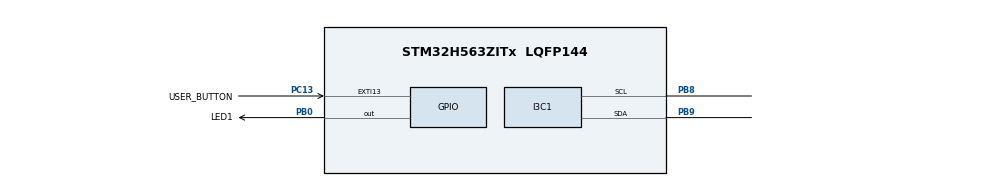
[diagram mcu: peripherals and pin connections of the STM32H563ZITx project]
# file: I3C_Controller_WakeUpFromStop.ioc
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CORTEX_M33_NS.userName=CORTEX_M33
I3C1.BusFreeDuration=402
I3C1.DutyCycleI3C=50
I3C1.FrequencyI3C=12500
I3C1.RXFIFOThreshold=HAL_I3C_RXFIFO_THRESHOLD_1_4
I3C1.Register0=0x00590909
I3C1.Register1=0x103200f8
I3C1.SCLI3CHighDuration=0x09
I3C1.SCLODLowDuration=0x59
I3C1.SCLPPLowDuration=0x09
I3C1.SDAHoldTime=HAL_I3C_SDA_HOLD_TIME_1_5
I3C1.TXFIFOThreshold=HAL_I3C_TXFIFO_THRESHOLD_1_4
I3C1.hexBusFreeDuration=0x32
I3C1.hexBusIdleDuration=0xf8
Mcu.Family=STM32H5
Mcu.Name=STM32H563ZITx
Mcu.Package=LQFP144
NVIC.EXTI13_IRQn=true\:0\:0\:false\:false\:true\:true\:true\:true
NVIC.I3C1_ER_IRQn=true\:0\:0\:false\:false\:true\:true\:true\:true
NVIC.I3C1_EV_IRQn=true\:0\:0\:false\:false\:true\:true\:true\:true
NVIC.PriorityGroup=NVIC_PRIORITYGROUP_4
PB0.GPIO_Label=LED1
PB0.Signal=GPIO_Output
PB8.Mode=Controller
PB8.Signal=I3C1_SCL
PB9.Mode=Controller
PB9.Signal=I3C1_SDA
PC13.GPIO_Label=USER_BUTTON
PC13.GPIO_PuPd=GPIO_PULLDOWN
PC13.Signal=GPXTI13
PH0-OSC_IN(PH0).Mode=HSE-DIG-External-Clock-Source
PH0-OSC_IN(PH0).Signal=RCC_OSC_IN
ProjectManager.HeapSize=0x200
ProjectManager.StackSize=0x400
ProjectManager.TargetToolchain=EWARM V9.20
RCC.ADCFreq_Value=250000000
RCC.AHBFreq_Value=250000000
RCC.APB1Freq_Value=250000000
RCC.APB1TimFreq_Value=250000000
RCC.APB2Freq_Value=250000000
RCC.APB2TimFreq_Value=250000000
RCC.APB3Freq_Value=250000000
RCC.CSI_VALUE=4000000
RCC.CortexFreq_Value=250000000
RCC.EPOD_VALUE=8000000
RCC.HCLKFreq_Value=250000000
RCC.HSE_VALUE=8000000
RCC.HSI48_VALUE=48000000
RCC.HSIDiv=RCC_HSI_DIV1
RCC.HSI_VALUE=64000000
RCC.LSE_VALUE=32768
RCC.LSIRC_VALUE=32000
RCC.PLLFRACN=0
RCC.PLLM=4
RCC.PLLN=250
RCC.PLLSourceVirtual=RCC_PLL1_SOURCE_HSE
RCC.PWR_Regulator_Voltage_Scale=PWR_REGULATOR_VOLTAGE_SCALE0
RCC.SYSCLKFreq_VALUE=250000000
RCC.SYSCLKSource=RCC_SYSCLKSOURCE_PLLCLK
RCC.USBFreq_Value=48000000
RCC.VCOOutputFreq_Value=500000000
VP_ICACHE_VS_ICACHE.Mode=DefaultMode
VP_PWR_VS_SECSignals.Mode=Security/Privilege
board=custom

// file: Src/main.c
/* USER CODE BEGIN Header */
/**
  ******************************************************************************
  * @file    I3C/I3C_Controller_WakeUpFromStop/Src/main.c
  * @author  MCD Application Team
  * @brief   This sample code shows how to use STM32H5xx I3C LL API as Controller
  *          to transmit and receive a data buffer
  *          with a communication process based on Interrupt transfer.
  *          The communication is done using 2 Boards.
  ******************************************************************************
  * @attention
  *
  * Copyright (c) 2023 STMicroelectronics.
  * All rights reserved.
  *
  * This software is licensed under terms that can be found in the LICENSE file
  * in the root directory of this software component.
  * If no LICENSE file comes with this software, it is provided AS-IS.
  *
  ******************************************************************************
  */
/* USER CODE END Header */
#include "main.h"

/* USER CODE BEGIN Includes */
#include "desc_target1.h"
/* USER CODE END Includes */

/* USER CODE BEGIN PD */
#define I3C_IDX_FRAME_1         0U  /* Index of Frame 1 */
#define I3C_IDX_FRAME_2         1U  /* Index of Frame 2 */
/* USER CODE END PD */

/* USER CODE BEGIN PV */
__IO uint8_t ubButtonPress = 0;

/* Number of Targets detected during DAA procedure */
__IO uint32_t uwTargetCount = 0;

/* Buffer used for transmission */
uint8_t aTxBuffer[] = " ****I3C_TwoBoards communication based on IT****  ****I3C_TwoBoards communication based on IT****  ****I3C_TwoBoards communication based on IT**** ";

/* Buffer used for reception */
uint8_t aRxBuffer[RXBUFFERSIZE];

/* Array contain targets descriptor */
TargetDesc_TypeDef *aTargetDesc[1] = \
                          {
                            &TargetDesc1       /* DEVICE_ID1 */
                          };

uint8_t aPayloadBuffer[64*COUNTOF(aTargetDesc)];

/* Descriptor for private data transmit */
I3C_PrivateTypeDef aPrivateDescriptor[2] =
{
    {TARGET1_DYN_ADDR, {aTxBuffer, TXBUFFERSIZE}, {NULL,                 0}, LL_I3C_DIRECTION_WRITE},
    {TARGET1_DYN_ADDR, {NULL,                 0}, {aRxBuffer, RXBUFFERSIZE}, LL_I3C_DIRECTION_READ}
};

/* private transfer variables */
uint8_t ubPrivateIdx = 0;
uint8_t ubFrameIdx = 0;
uint32_t uwPrivateMessage[0xFF] = {0};
__IO uint8_t ubNbPrivate = 0;

/* Buffer used for reception */
__IO uint8_t ubNbRxData = 0;

/* Buffer used for transmission */
__IO uint8_t ubNbTxDataToTransfer = 0;
__IO uint8_t ubNbTxData = 0;

/* Function pointer on function TX buffer treatment */
void (*ptrTXFunc)(void);

/* Completion status */
__IO uint8_t ubNackDetected = 0;
__IO uint8_t ubFrameComplete = 0;
__IO uint8_t ubReceptionComplete = 0;
/* USER CODE END PV */

void SystemClock_Config(void);
static void MX_GPIO_Init(void);
static void MX_I3C1_Init(void);
static void MX_ICACHE_Init(void);
/* USER CODE BEGIN PFP */
void FlushBuffer8(uint8_t* pBuffer1, uint16_t BufferSize);
void LED_On(void);
void LED_Off(void);
void LED_Toggle(void);
void LED_Blinking(uint32_t Period);
void WaitForUserButtonPress(void);
void Handle_ENTDAA_Controller(void);
void Prepare_Private_Transfer(void);
void Handle_Private_Controller(void);
void Handle_Repeat_Private_Controller(void);
static void I3C_DynamicAddressTreatment(void);
static void I3C_TransmitByteTreatment(void);
static uint16_t Buffercmp(uint8_t *pBuffer1, uint8_t *pBuffer2, uint16_t BufferLength);
/* USER CODE END PFP */

int main(void)
{

  /* MCU Configuration--------------------------------------------------------*/

  /* Reset of all peripherals, Initializes the Flash interface and the Systick. */

  /* System interrupt init*/
  NVIC_SetPriorityGrouping(NVIC_PRIORITYGROUP_4);

  /* SysTick_IRQn interrupt configuration */
  NVIC_SetPriority(SysTick_IRQn, NVIC_EncodePriority(NVIC_GetPriorityGrouping(),15, 0));

  /* Configure the system clock */
  SystemClock_Config();

  /* Initialize all configured peripherals */
  MX_GPIO_Init();
  MX_I3C1_Init();
  MX_ICACHE_Init();
  /* USER CODE BEGIN 2 */
  /* Set LED1 Off */
  LED_Off();

  /*##- Start Dynamic Address Assignment procedure ##################################*/

  /* Wait for USER push-button press to start transfer */
  WaitForUserButtonPress();

  /* Handle Dynamic Address Assignment */
  Handle_ENTDAA_Controller();

  /* Wait end of Dynamic Address Assignment procedure */
  while(ubFrameComplete == 0U);

  /* Reset Complete variable */
  ubFrameComplete = 0;

  /*##- Prepare Private message  ####################################################*/
  /* An auto stop is automatically generated between
  each element of aPrivateDescriptor */

  /* Wait for USER push-button press to start transfer */
  WaitForUserButtonPress();

  /* Prepare Private transfer */
  Prepare_Private_Transfer();

  /*##- Start the Private communication to wakeup target ############################*/
  /* An auto stop is automatically generated after
  first element of aPrivateDescriptor or after a non acknowledge
  of first part of communication, due to wakeup latency on Target side */
  /* Handle Private transfer */
  Handle_Private_Controller();

  /* Wait end of Private transfer procedure */
  /* And manage repetition if a Non acknowledge is detected */
  do
  {
    if (ubNackDetected)
    {
      /* Clear Nack detection variable */
      ubNackDetected = 0;

      /* Handle the repetition of the previous Private transfer */
      Handle_Repeat_Private_Controller();
    }
  }
  while (ubFrameComplete == 0);

  ubFrameComplete = 0;

  /* Wait for USER push-button press to start transfer */
  WaitForUserButtonPress();

  /*##- Start the Private communication #############################################*/
  /* An auto stop is automatically generated after
  second element of aPrivateDescriptor */
  /* Handle Private transfer */
  Handle_Private_Controller();

  /* Wait end of Private transfer procedure */
  while (ubFrameComplete == 0);

  ubFrameComplete = 0;

  /*##- Compare the sent and received buffers ############################*/
  if (Buffercmp((uint8_t *)aTxBuffer, (uint8_t *)aRxBuffer, RXBUFFERSIZE))
  {
    /* Processing Error */
    Error_Handler();
  }
  else
  {
    /* LED1 On */
    LED_On();
  }

  /* USER CODE END 2 */

  /* Infinite loop */
  while (1)
  {

  }
}

void SystemClock_Config(void)
{
  LL_FLASH_SetLatency(LL_FLASH_LATENCY_5);
  while(LL_FLASH_GetLatency()!= LL_FLASH_LATENCY_5)
  {
  }

  LL_PWR_SetRegulVoltageScaling(LL_PWR_REGU_VOLTAGE_SCALE0);
  while (LL_PWR_IsActiveFlag_VOS() == 0)
  {
  }
  LL_RCC_HSE_EnableBypass();
  LL_RCC_HSE_SetExternalClockType(LL_RCC_HSE_DIGITAL_TYPE);
  LL_RCC_HSE_Enable();

   /* Wait till HSE is ready */
  while(LL_RCC_HSE_IsReady() != 1)
  {
  }

  LL_RCC_PLL1_SetSource(LL_RCC_PLL1SOURCE_HSE);
  LL_RCC_PLL1_SetVCOInputRange(LL_RCC_PLLINPUTRANGE_2_4);
  LL_RCC_PLL1_SetVCOOutputRange(LL_RCC_PLLVCORANGE_WIDE);
  LL_RCC_PLL1_SetM(4);
  LL_RCC_PLL1_SetN(250);
  LL_RCC_PLL1_SetP(2);
  LL_RCC_PLL1_SetQ(2);
  LL_RCC_PLL1_SetR(2);
  LL_RCC_PLL1P_Enable();
  LL_RCC_PLL1_Enable();

   /* Wait till PLL is ready */
  while(LL_RCC_PLL1_IsReady() != 1)
  {
  }

  LL_RCC_SetSysClkSource(LL_RCC_SYS_CLKSOURCE_PLL1);

   /* Wait till System clock is ready */
  while(LL_RCC_GetSysClkSource() != LL_RCC_SYS_CLKSOURCE_STATUS_PLL1)
  {
  }

  LL_RCC_SetAHBPrescaler(LL_RCC_SYSCLK_DIV_1);
  LL_RCC_SetAPB1Prescaler(LL_RCC_APB1_DIV_1);
  LL_RCC_SetAPB2Prescaler(LL_RCC_APB2_DIV_1);
  LL_RCC_SetAPB3Prescaler(LL_RCC_APB3_DIV_1);

  LL_Init1msTick(250000000);

  LL_SetSystemCoreClock(250000000);
}

static void MX_I3C1_Init(void)
{

  LL_GPIO_InitTypeDef GPIO_InitStruct = {0};

  LL_RCC_SetI3CClockSource(LL_RCC_I3C1_CLKSOURCE_PCLK1);

  /* Peripheral clock enable */
  LL_APB1_GRP1_EnableClock(LL_APB1_GRP1_PERIPH_I3C1);

  LL_AHB2_GRP1_EnableClock(LL_AHB2_GRP1_PERIPH_GPIOB);
  /**I3C1 GPIO Configuration
  PB8   ------> I3C1_SCL
  PB9   ------> I3C1_SDA
  */
  GPIO_InitStruct.Pin = LL_GPIO_PIN_8|LL_GPIO_PIN_9;
  GPIO_InitStruct.Mode = LL_GPIO_MODE_ALTERNATE;
  GPIO_InitStruct.Speed = LL_GPIO_SPEED_FREQ_VERY_HIGH;
  GPIO_InitStruct.Pull = LL_GPIO_PULL_UP;
  GPIO_InitStruct.Alternate = LL_GPIO_AF_3;
  LL_GPIO_Init(GPIOB, &GPIO_InitStruct);

  /* I3C1 interrupt Init */
  NVIC_SetPriority(I3C1_EV_IRQn, NVIC_EncodePriority(NVIC_GetPriorityGrouping(),0, 0));
  NVIC_EnableIRQ(I3C1_EV_IRQn);
  NVIC_SetPriority(I3C1_ER_IRQn, NVIC_EncodePriority(NVIC_GetPriorityGrouping(),0, 0));
  NVIC_EnableIRQ(I3C1_ER_IRQn);

  /** I3C Initialization
  */
  LL_I3C_SetMode(I3C1, LL_I3C_MODE_CONTROLLER);
  LL_I3C_SetDataHoldTime(I3C1, LL_I3C_SDA_HOLD_TIME_1_5);
  LL_I3C_SetControllerActivityState(I3C1, LL_I3C_OWN_ACTIVITY_STATE_0);
  LL_I3C_ConfigClockWaveForm(I3C1, 0x00590909);
  LL_I3C_SetCtrlBusCharacteristic(I3C1, 0x103200f8);
  LL_I3C_DisableHJAck(I3C1);

  /** Configure FIFO
  */
  LL_I3C_SetRxFIFOThreshold(I3C1, LL_I3C_RXFIFO_THRESHOLD_1_4);
  LL_I3C_SetTxFIFOThreshold(I3C1, LL_I3C_TXFIFO_THRESHOLD_1_4);
  LL_I3C_DisableControlFIFO(I3C1);
  LL_I3C_DisableStatusFIFO(I3C1);

  /** Configure Controller
  */
  LL_I3C_SetOwnDynamicAddress(I3C1, 0);
  LL_I3C_EnableOwnDynAddress(I3C1);
  LL_I3C_SetStallTime(I3C1, 0x00);
  LL_I3C_DisableStallACK(I3C1);
  LL_I3C_DisableStallParityCCC(I3C1);
  LL_I3C_DisableStallParityData(I3C1);
  LL_I3C_DisableStallTbit(I3C1);
  LL_I3C_DisableHighKeeperSDA(I3C1);

  /** Enable the selected I3C peripheral
  */
  LL_I3C_Enable(I3C1);
  /* USER CODE BEGIN I3C1_Init 2 */

  /* Add a delay to let startup of High level on the Bus */
  LL_mDelay(1);

  GPIO_InitStruct.Pin = LL_GPIO_PIN_8|LL_GPIO_PIN_9;
  GPIO_InitStruct.Mode = LL_GPIO_MODE_ALTERNATE;
  GPIO_InitStruct.Speed = LL_GPIO_SPEED_FREQ_VERY_HIGH;
  GPIO_InitStruct.Pull = LL_GPIO_PULL_NO;
  GPIO_InitStruct.Alternate = LL_GPIO_AF_3;
  LL_GPIO_Init(GPIOB, &GPIO_InitStruct);

  LL_I3C_EnableIT_FC(I3C1);
  LL_I3C_EnableIT_CFNF(I3C1);
  LL_I3C_EnableIT_RXFNE(I3C1);
  LL_I3C_EnableIT_TXFNF(I3C1);
  LL_I3C_EnableIT_ERR(I3C1);
  /* USER CODE END I3C1_Init 2 */

}

static void MX_ICACHE_Init(void)
{

  /** Enable instruction cache (default 2-ways set associative cache)
  */
  LL_ICACHE_Enable();

}

static void MX_GPIO_Init(void)
{
  LL_EXTI_InitTypeDef EXTI_InitStruct = {0};
  LL_GPIO_InitTypeDef GPIO_InitStruct = {0};

  /* GPIO Ports Clock Enable */
  LL_AHB2_GRP1_EnableClock(LL_AHB2_GRP1_PERIPH_GPIOC);
  LL_AHB2_GRP1_EnableClock(LL_AHB2_GRP1_PERIPH_GPIOH);
  LL_AHB2_GRP1_EnableClock(LL_AHB2_GRP1_PERIPH_GPIOB);

  /**/
  LL_GPIO_ResetOutputPin(LED1_GPIO_Port, LED1_Pin);

  /**/
  LL_EXTI_SetEXTISource(LL_EXTI_EXTI_PORTC, LL_EXTI_EXTI_LINE13);

  /**/
  EXTI_InitStruct.Line_0_31 = LL_EXTI_LINE_13;
  EXTI_InitStruct.Line_32_63 = LL_EXTI_LINE_NONE;
  EXTI_InitStruct.LineCommand = ENABLE;
  EXTI_InitStruct.Mode = LL_EXTI_MODE_IT;
  EXTI_InitStruct.Trigger = LL_EXTI_TRIGGER_RISING;
  LL_EXTI_Init(&EXTI_InitStruct);

  /**/
  LL_GPIO_SetPinPull(USER_BUTTON_GPIO_Port, USER_BUTTON_Pin, LL_GPIO_PULL_DOWN);

  /**/
  LL_GPIO_SetPinMode(USER_BUTTON_GPIO_Port, USER_BUTTON_Pin, LL_GPIO_MODE_INPUT);

  /**/
  GPIO_InitStruct.Pin = LED1_Pin;
  GPIO_InitStruct.Mode = LL_GPIO_MODE_OUTPUT;
  GPIO_InitStruct.Speed = LL_GPIO_SPEED_FREQ_LOW;
  GPIO_InitStruct.OutputType = LL_GPIO_OUTPUT_PUSHPULL;
  GPIO_InitStruct.Pull = LL_GPIO_PULL_NO;
  LL_GPIO_Init(LED1_GPIO_Port, &GPIO_InitStruct);

  /* EXTI interrupt init*/
  NVIC_SetPriority(EXTI13_IRQn, NVIC_EncodePriority(NVIC_GetPriorityGrouping(),0, 0));
  NVIC_EnableIRQ(EXTI13_IRQn);

}

/* USER CODE BEGIN 4 */
/**
  * @brief  Flush 8-bit buffer.
  * @param  pBuffer1: pointer to the buffer to be flushed.
  * @param  BufferSize: Size of Buffer.
  * @retval None
  */
void FlushBuffer8(uint8_t* pBuffer1, uint16_t BufferSize)
{
  uint8_t Index = 0;

  for (Index = 0; Index < BufferSize; Index++)
  {
    pBuffer1[Index] = 0;
  }
}

/**
  * @brief  Turn-on LED1.
  * @param  None
  * @retval None
  */
void LED_On(void)
{
  /* Turn LED1 on */
  LL_GPIO_SetOutputPin(LED1_GPIO_Port, LED1_Pin);
}

/**
  * @brief  Turn-off LED1.
  * @param  None
  * @retval None
  */
void LED_Off(void)
{
  /* Turn LED1 off */
  LL_GPIO_ResetOutputPin(LED1_GPIO_Port, LED1_Pin);
}

/**
  * @brief  Toggle LED1.
  * @param  None
  * @retval None
  */
void LED_Toggle(void)
{
  /* Toggle LED1 on */
  LL_GPIO_TogglePin(LED1_GPIO_Port, LED1_Pin);
}

/**
  * @brief  Set LED1 to Blinking mode for an infinite loop (toggle period based on value provided as input parameter).
  * @param  Period : Period of time (in ms) between each toggling of LED
  *   This parameter can be user defined values. Pre-defined values used in that example are :
  *     @arg LED_BLINK_FAST : Fast Blinking
  *     @arg LED_BLINK_SLOW : Slow Blinking
  *     @arg LED_BLINK_ERROR : Error specific Blinking
  * @retval None
  */
void LED_Blinking(uint32_t Period)
{
  /* Turn LED1 on */
  LED_On();

  /* Toggle IO in an infinite loop */
  while (1)
  {
    LED_Toggle();
    LL_mDelay(Period);
  }
}

/**
  * @brief  This Function handle Controller events to perform an Assign dynamic address process
  * @note  This function is composed in one step :
  *        -1- Initiate the Dynamic address assignment procedure.
  * @param  None
  * @retval None
  */
void Handle_ENTDAA_Controller(void)
{
  /* Set Treatment function pointer */
  ptrTXFunc = &I3C_DynamicAddressTreatment;

  /* (1) Initiate a Dynamic Address Assignment to the Target connected on the bus ****/
  /* Controller Generate Start condition for a write request with a Broadcast ENTDAA:
  *  - to the Targets connected on the bus
  *  - with an auto stop condition generation when all Targets answer the ENTDAA sequence.
  */
  LL_I3C_ControllerHandleCCC(I3C1, Broadcast_ENTDAA, 0, LL_I3C_GENERATE_STOP);
}

/**
  * @brief  This Function handle a private transfer to a target
  * @note  This function is composed in one step :
  *        -1- Compute the different parameter of aPrivateDescriptor array into private message.
  *            The private message take the structure of hardware Control Register
  *            to safe process time during the sending of Control data into the hardware.
  *            A repeated start is inserted between each private command.
  *            A stop is inserted at the end of the private array.
  * @param  None
  * @retval None
  */
void Prepare_Private_Transfer(void)
{
  uint32_t ControlMask = (I3C_CR_ADD | I3C_CR_DCNT | I3C_CR_RNW | I3C_CR_MTYPE | I3C_CR_MEND);
  uint32_t XferSize = 0U;

  for(ubPrivateIdx = 0; ubPrivateIdx < COUNTOF(aPrivateDescriptor); ubPrivateIdx++)
  {
    /* (1) Prepare the private transfer to a Target connected on the bus ***********************/
    /* First part correspond to Direct Command Code value, size of the defining byte and
       repeated start for second part of private message.
    */
    /* Second part correspond to Target address, size of the private associated data, direction and
       repeated start between each private message or stop the last private message.
    */

    if (aPrivateDescriptor[ubPrivateIdx].Direction == LL_I3C_DIRECTION_WRITE)
    {
      XferSize = aPrivateDescriptor[ubPrivateIdx].TxBuf.Size;
      ubNbTxDataToTransfer = XferSize;
    }
    else
    {
      XferSize =aPrivateDescriptor[ubPrivateIdx].RxBuf.Size;
    }

    MODIFY_REG(uwPrivateMessage[ubFrameIdx],                                                                           \
               ControlMask,                                                                                            \
               ((aPrivateDescriptor[ubPrivateIdx].TargetAddr << I3C_CR_ADD_Pos)                                      | \
               XferSize                                                                                              | \
               aPrivateDescriptor[ubPrivateIdx].Direction                                                            | \
               LL_I3C_CONTROLLER_MTYPE_PRIVATE                                                                       | \
               LL_I3C_GENERATE_STOP));

    /* Increment Frame index */
    ubFrameIdx++;
  }
}

/**
  * @brief  This Function handle Private transfer to then from a target
  * @note  This function is composed in one step :
  *        -1- Initiate the start of the Private transfer.
  * @param  None
  * @retval None
  */
void Handle_Private_Controller(void)
{
  /* Flush Buffer before start a Private transfer */
  FlushBuffer8(aRxBuffer, COUNTOF(aRxBuffer));

  /* Reset Counter */
  ubNbRxData = 0;

  /* Set Treatment function pointer */
  ptrTXFunc = &I3C_TransmitByteTreatment;

  /* Start Transfer Private communication */
  LL_I3C_RequestTransfer(I3C1);
}

/**
  * @brief  This Function handle the repetition of a Private transfer to then from a target, when an error is detected
  * @note  This function is composed in one step :
  *        -1- Clear the different transfer counter.
  *        -2- Flush of the TX and Control FIFOs.
  *        -2- Call a new Private transfer.
  * @param  None
  * @retval None
  */
void Handle_Repeat_Private_Controller(void)
{
  uint32_t NbDataSent = ubNbTxData;

  /* Reset different communication counters */
  ubNbPrivate = 0;
  ubNbTxDataToTransfer += NbDataSent;
  ubNbTxData = 0;

  /* Flush TX FIFO */
  LL_I3C_RequestTxFIFOFlush(I3C1);

  /* Flush Control FIFO */
  LL_I3C_RequestControlFIFOFlush(I3C1);

  /* Handle the repetition of the previous Private transfer */
  Handle_Private_Controller();
}

/**
  * @brief  Compares two buffers.
  * @param  pBuffer1, pBuffer2: buffers to be compared.
  * @param  BufferLength: buffer's length
  * @retval 0  : pBuffer1 identical to pBuffer2
  *         >0 : pBuffer1 differs from pBuffer2
  */
static uint16_t Buffercmp(uint8_t *pBuffer1, uint8_t *pBuffer2, uint16_t BufferLength)
{
  while (BufferLength--)
  {
    if ((*pBuffer1) != *pBuffer2)
    {
      return BufferLength;
    }
    pBuffer1++;
    pBuffer2++;
  }

  return 0;
}

/******************************************************************************/
/*   IRQ HANDLER TREATMENT Functions                                          */
/******************************************************************************/
/**
  * @brief  Wait for USER push-button press to start transfer.
  * @param  None
  * @retval None
  */
/*  */
void WaitForUserButtonPress(void)
{
  while (ubButtonPress == 0)
  {
    LED_Toggle();
    LL_mDelay(LED_BLINK_FAST);
  }
  /* Turn LED1 off */
  LED_Off();

  /* Reset Variable */
  ubButtonPress = 0;
}

/**
  * @brief  Function to manage USER push-button
  * @param  None
  * @retval None
  */
void UserButton_Callback(void)
{
  /* Update USER push-button variable : to be checked in waiting loop in main program */
  ubButtonPress = 1;
}

/**
  * @brief  I3C transmit Dynamic address to a Target.
  * @param  None
  * @retval None
  */
static void I3C_DynamicAddressTreatment(void)
{
  uint64_t target_payload = 0U;

  /* Check on the Rx FIFO threshold to know the Dynamic Address Assignment treatment process : byte or word */
  if (LL_I3C_GetRxFIFOThreshold(I3C1) == LL_I3C_RXFIFO_THRESHOLD_1_4)
  {
    /* Loop to get target payload */
    for (uint32_t index = 0U; index < 8U; index++)
    {
      /* Retrieve payload byte by byte */
      target_payload |= (uint64_t)((uint64_t)LL_I3C_ReceiveData8(I3C1) << (index * 8U));
    }
  }
  else
  {
    /* Retrieve first 32 bits payload */
    target_payload = (uint64_t)LL_I3C_ReceiveData32(I3C1);

    /* Retrieve second 32 bits payload */
    target_payload |= (uint64_t)((uint64_t)LL_I3C_ReceiveData32(I3C1) << 32U);
  }

  /* Call the corresponding callback */
  Target_Request_DynamicAddrCallback(target_payload);
}

/**
  * @brief  I3C transmit data by byte per byte.
  * @param  None
  * @retval None
  */
static void I3C_TransmitByteTreatment(void)
{
  /* Check counter of remaining bytes counter before send a new data */
  if (ubNbTxDataToTransfer > 0)
  {
    /* Write Tx buffer data to transmit register */
    LL_I3C_TransmitData8(I3C1, aTxBuffer[ubNbTxData++]);

    /* Decrement remaining bytes counter */
    ubNbTxDataToTransfer--;
  }
}

/**
  * @brief  Target Request Dynamic Address callback.
  * @param  targetPayload : Contain the target payload.
  * @retval None
  */
void Target_Request_DynamicAddrCallback(uint64_t targetPayload)
{
  /* Store Payload in aTargetDesc */
  aTargetDesc[uwTargetCount]->TARGET_BCR_DCR_PID = targetPayload;

  /* Send associated dynamic address */
  /* Write device address in the TDR register */
  /* Increment Target counter */
  LL_I3C_TransmitData8(I3C1, aTargetDesc[uwTargetCount++]->DYNAMIC_ADDR);
}

/**
  * @brief  Controller Complete callback.
  * @param  None
  * @retval None
  */
void Controller_Complete_Callback(void)
{
  /* Update Completion status */
  ubFrameComplete++;

  /* Toggle LED1: Transfer in transmission process is correct */
  LED_Toggle();
}

/**
  * @brief  Controller Receive callback.
  * @param  None
  * @retval None
  */
void Controller_Reception_Callback(void)
{
  aRxBuffer[ubNbRxData++] = LL_I3C_ReceiveData8(I3C1);
}

/**
  * @brief  Controller Transmit callback.
  * @param  None
  * @retval None
  */
void Controller_Transmit_Callback(void)
{
  ptrTXFunc();
}

/**
  * @brief  Controller Control callback.
  * @param  None
  * @retval None
  */
void Controller_Frame_Update_Callback(void)
{
  WRITE_REG(I3C1->CR, uwPrivateMessage[ubNbPrivate++]);
}

/* USER CODE END 4 */

void Error_Handler(void)
{
  /* USER CODE BEGIN Error_Handler_Debug */
  /* User can add his own implementation to report the LL error return state */
  /* When Acknowledge failure occurs (Target don't acknowledge it's address as it is still in wake up phase)
  Controller restarts communication */
  if (LL_I3C_IsActiveFlag_PERR(I3C1) && (LL_I3C_GetMessageErrorCode(I3C1) == LL_I3C_CONTROLLER_ERROR_CE2))
  {
    /* Clear error flag */
    LL_I3C_ClearFlag_ERR(I3C1);

    /* Inform application that a NACK have been detected, to manage reiteration of current process if needed */
    ubNackDetected = 1;
  }
  else
  {
    while (1)
    {
      /* Unexpected event : Set LED1 to Blinking mode to indicate error occurs */
      LED_Blinking(LED_BLINK_ERROR);
    }
  }

  /* USER CODE END Error_Handler_Debug */
}
